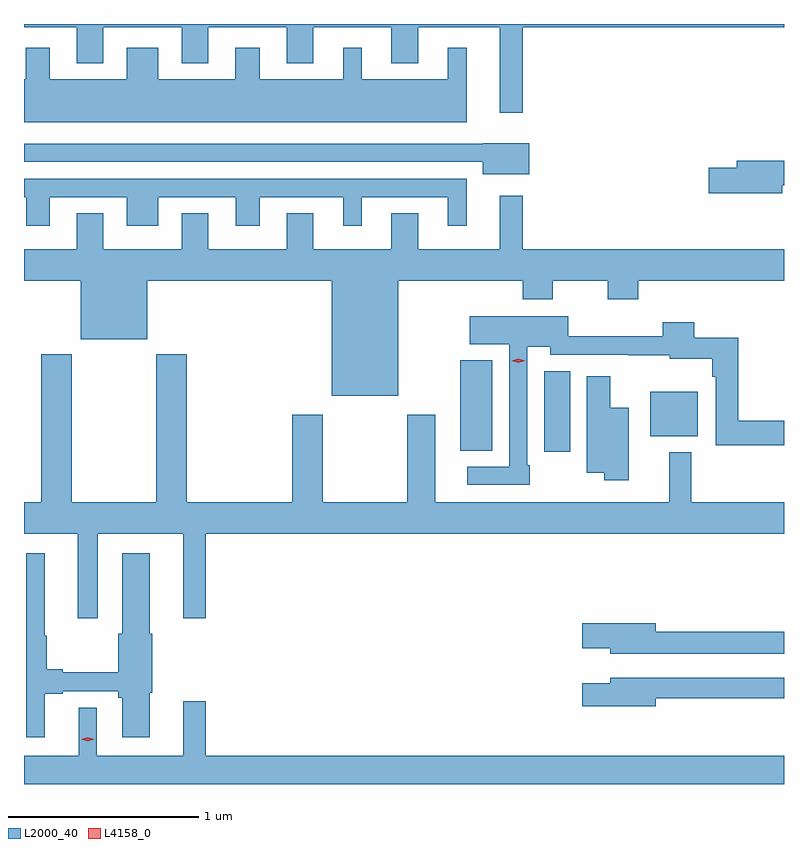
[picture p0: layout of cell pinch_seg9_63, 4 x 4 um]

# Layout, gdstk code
import gdstk
lib = gdstk.Library(unit=1e-6, precision=1e-09)
def R(c, l, rs):  # rectangles x0, y0, x1, y1
    for r in rs: c.add(gdstk.rectangle(r[:2], r[2:], *l))
def P(c, l, *ps):  # polygons
    for p in ps: c.add(gdstk.Polygon(p, *l))
L2000_40 = (2000, 40)
L4158_0 = (4158, 0)

pinch_seg9_63 = lib.new_cell('pinch_seg9_63')
R(pinch_seg9_63, L2000_40, [(905.285,1186.194,905.422,1186.619), (904.844,1186.201,905.011,1186.675), (905.843,1186.277,906.094,1186.51)])
P(pinch_seg9_63, L2000_40, [(902.547,1188.428),(902.825,1188.428),(902.825,1188.239),(902.965,1188.239),(902.965,1188.428),(903.377,1188.428),(903.377,1188.239),(903.517,1188.239),(903.517,1188.428),(903.929,1188.428),(903.929,1188.239),(904.069,1188.239),(904.069,1188.428),(904.481,1188.428),(904.481,1188.239),(904.621,1188.239),(904.621,1188.428),(905.051,1188.428),(905.051,1187.979),(905.173,1187.979),(905.173,1188.428),(906.547,1188.428),(906.547,1188.446),(902.547,1188.446)],
  [(904.876,1188.322),(904.778,1188.322),(904.778,1188.154),(904.324,1188.154),(904.324,1188.322),(904.226,1188.322),(904.226,1188.154),(903.787,1188.154),(903.787,1188.322),(903.659,1188.322),(903.659,1188.154),(903.253,1188.154),(903.253,1188.322),(903.089,1188.322),(903.089,1188.154),(902.683,1188.154),(902.683,1188.322),(902.555,1188.322),(902.555,1188.154),(902.547,1188.154),(902.547,1187.93),(904.876,1187.93)],
  [(905.206,1187.818),(904.965,1187.818),(904.965,1187.817),(902.547,1187.817),(902.547,1187.721),(904.961,1187.721),(904.961,1187.654),(905.206,1187.654)],
  [(906.538,1187.598),(906.547,1187.598),(906.547,1187.726),(906.299,1187.726),(906.299,1187.69),(906.15,1187.69),(906.15,1187.555),(906.538,1187.555)],
  [(902.683,1187.535),(903.089,1187.535),(903.089,1187.385),(903.253,1187.385),(903.253,1187.535),(903.662,1187.535),(903.662,1187.385),(903.787,1187.385),(903.787,1187.535),(904.226,1187.535),(904.226,1187.385),(904.324,1187.385),(904.324,1187.535),(904.778,1187.535),(904.778,1187.385),(904.876,1187.385),(904.876,1187.631),(902.547,1187.631),(902.547,1187.535),(902.558,1187.535),(902.558,1187.385),(902.683,1187.385)],
  [(904.516,1187.096),(905.171,1187.096),(905.171,1186.997),(905.331,1186.997),(905.331,1187.096),(905.62,1187.096),(905.62,1186.997),(905.78,1186.997),(905.78,1187.096),(906.547,1187.096),(906.547,1187.26),(905.173,1187.26),(905.173,1187.542),(905.051,1187.542),(905.051,1187.26),(904.621,1187.26),(904.621,1187.45),(904.481,1187.45),(904.481,1187.26),(904.069,1187.26),(904.069,1187.45),(903.929,1187.45),(903.929,1187.26),(903.517,1187.26),(903.517,1187.45),(903.377,1187.45),(903.377,1187.26),(902.965,1187.26),(902.965,1187.45),(902.825,1187.45),(902.825,1187.26),(902.547,1187.26),(902.547,1187.096),(902.846,1187.096),(902.846,1186.787),(903.196,1186.787),(903.196,1187.096),(904.166,1187.096),(904.166,1186.49),(904.516,1186.49)],
  [(905.209,1186.123),(905.196,1186.123),(905.196,1186.748),(905.316,1186.748),(905.316,1186.704),(905.728,1186.704),(905.728,1186.703),(905.946,1186.703),(905.946,1186.685),(906.169,1186.685),(906.169,1186.589),(906.189,1186.589),(906.189,1186.23),(906.547,1186.23),(906.547,1186.358),(906.305,1186.358),(906.305,1186.795),(906.074,1186.795),(906.074,1186.876),(905.909,1186.876),(905.909,1186.802),(905.412,1186.802),(905.412,1186.909),(904.893,1186.909),(904.893,1186.76),(905.1,1186.76),(905.1,1186.116),(904.881,1186.116),(904.881,1186.02),(905.209,1186.02)],
  [(902.935,1185.764),(903.386,1185.764),(903.386,1185.318),(903.503,1185.318),(903.503,1185.764),(906.547,1185.764),(906.547,1185.928),(906.059,1185.928),(906.059,1186.192),(905.942,1186.192),(905.942,1185.928),(904.711,1185.928),(904.711,1186.39),(904.564,1186.39),(904.564,1185.928),(904.119,1185.928),(904.119,1186.39),(903.959,1186.39),(903.959,1185.928),(903.404,1185.928),(903.404,1186.708),(903.244,1186.708),(903.244,1185.928),(902.799,1185.928),(902.799,1186.708),(902.639,1186.708),(902.639,1185.928),(902.547,1185.928),(902.547,1185.764),(902.831,1185.764),(902.831,1185.318),(902.935,1185.318)],
  [(905.731,1186.426),(905.632,1186.426),(905.632,1186.591),(905.51,1186.591),(905.51,1186.085),(905.602,1186.085),(905.602,1186.046),(905.731,1186.046)],
  [(902.657,1184.922),(902.752,1184.922),(902.752,1184.934),(903.043,1184.934),(903.043,1184.901),(903.065,1184.901),(903.065,1184.691),(903.208,1184.691),(903.208,1184.927),(903.221,1184.927),(903.221,1185.237),(903.208,1185.237),(903.208,1185.661),(903.065,1185.661),(903.065,1185.237),(903.043,1185.237),(903.043,1185.035),(902.752,1185.035),(902.752,1185.05),(902.668,1185.05),(902.668,1185.227),(902.656,1185.227),(902.656,1185.661),(902.558,1185.661),(902.558,1184.691),(902.657,1184.691)],
  [(906.547,1185.248),(905.872,1185.248),(905.872,1185.291),(905.484,1185.291),(905.484,1185.161),(905.633,1185.161),(905.633,1185.132),(906.547,1185.132)],
  [(905.872,1184.898),(906.547,1184.898),(906.547,1185.006),(905.633,1185.006),(905.633,1184.977),(905.484,1184.977),(905.484,1184.855),(905.872,1184.855)],
  [(906.547,1184.596),(903.503,1184.596),(903.503,1184.881),(903.386,1184.881),(903.386,1184.596),(902.931,1184.596),(902.931,1184.848),(902.834,1184.848),(902.834,1184.596),(902.547,1184.596),(902.547,1184.446),(906.547,1184.446)])
P(pinch_seg9_63, L4158_0, [(905.149,1186.664),(905.114,1186.674),(905.114,1186.674),(905.114,1186.674),(905.149,1186.684),(905.184,1186.674),(905.184,1186.674),(905.184,1186.674)],
  [(902.882,1184.672),(902.847,1184.682),(902.847,1184.682),(902.847,1184.682),(902.882,1184.692),(902.918,1184.682),(902.918,1184.682),(902.918,1184.682)])

lib.write_gds('pinch_seg9_63.gds')
